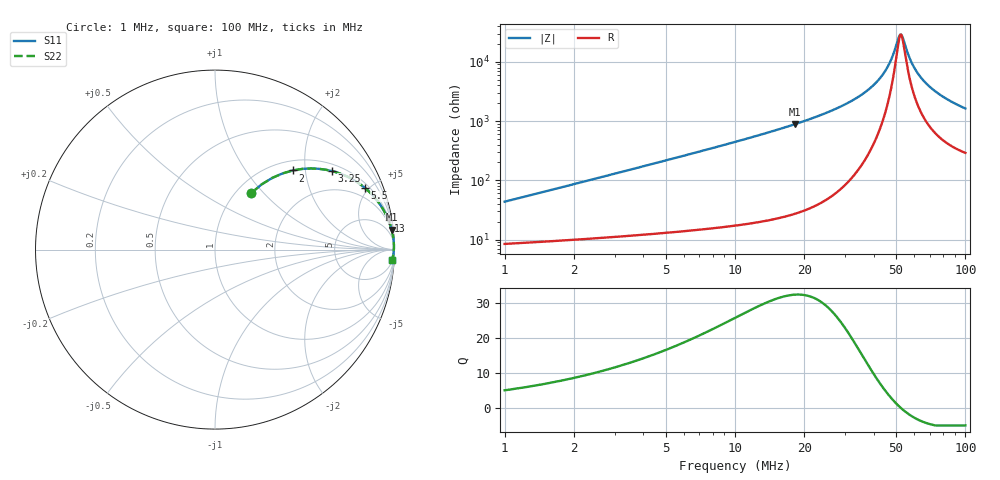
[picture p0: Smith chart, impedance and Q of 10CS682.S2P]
! Coilcraft 1008CS-682 Chip Inductor
! 02 July 2002
# MHZ S MA R 50
!Freq  MagS11  AngS11  MagS21  AngS21  MagS12  AngS12  MagS22  AngS22
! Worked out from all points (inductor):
!   397 points, 1 MHz to 100 MHz, reference 50 ohm
!   read as one part in series: L = 6.8 uH near 1.25 MHz
!   highest Q = 32.5 at 18.25 MHz (marker M1), where L = 7.74 uH
!   self-resonance near 52.5 MHz
!   S11 on the Smith chart (normalised r, x): 1 MHz: 1.17, +0.85; 2 MHz: 1.20, +1.71; 3.25 MHz: 1.23, +2.79; 5.5 MHz: 1.27, +4.75; 13 MHz: 1, +12; 100 MHz: 7, -32
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1  0.3738 57.3  0.8579 -21.5  0.8579 -21.5  0.3738 57.3
2  0.6184 45.5  0.7178 -37.9  0.7178 -37.9  0.6184 45.5
3.25  0.7839 34.0  0.5605 -51.4  0.5605 -51.4  0.7839 34.0
5.5  0.9039 22.3  0.3798 -64.5  0.3798 -64.5  0.9039 22.3
8.25  0.9533 15.3  0.2635 -72.3  0.2635 -72.3  0.9533 15.3
13  0.9806 9.5  0.1656 -78.5  0.1656 -78.5  0.9806 9.5
17.5  0.9894 6.7  0.1175 -81.5  0.1175 -81.5  0.9894 6.7
18.25  0.9903 6.4  0.1116 -81.8  0.1116 -81.8  0.9903 6.4
34  0.9969 2.3  0.03982 -84.4  0.03982 -84.4  0.9969 2.3
39.75  0.9972 1.4  0.02511 -82.9  0.02511 -82.9  0.9972 1.4
44.25  0.9971 0.9  0.01547 -78.8  0.01547 -78.8  0.9971 0.9
47.5  0.997 0.5  0.009377 -70.8  0.009377 -70.8  0.997 0.5
50.5  0.9967 0.2  0.004744 -46.4  0.004744 -46.4  0.9967 0.2
51.75  0.9966 0.1  0.003613 -20.7  0.003613 -20.7  0.9966 0.1
52.75  0.9965 -0.0  0.003498 6.7  0.003498 6.7  0.9965 -0.0
56.5  0.9961 -0.4  0.007544 58.9  0.007544 58.9  0.9961 -0.4
59  0.9958 -0.6  0.01111 67.5  0.01111 67.5  0.9958 -0.6
62.5  0.9953 -0.9  0.0161 72.7  0.0161 72.7  0.9953 -0.9
67  0.9946 -1.2  0.02227 75.4  0.02227 75.4  0.9946 -1.2
74.25  0.9933 -1.8  0.03162 76.9  0.03162 76.9  0.9933 -1.8
83.5  0.9914 -2.4  0.04269 77.2  0.04269 77.2  0.9914 -2.4
100  0.9874 -3.4  0.06067 76.3  0.06067 76.3  0.9874 -3.4
